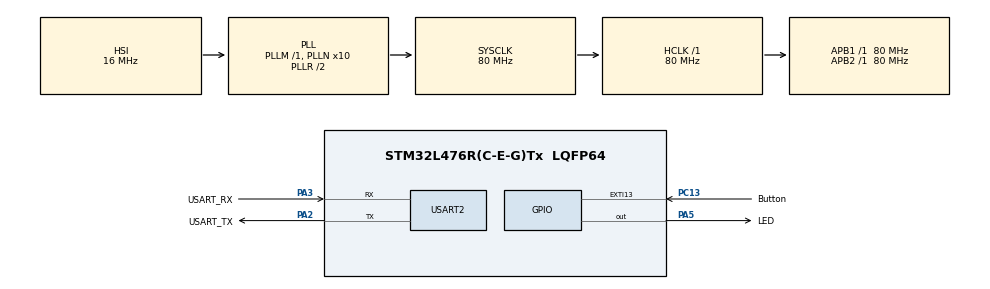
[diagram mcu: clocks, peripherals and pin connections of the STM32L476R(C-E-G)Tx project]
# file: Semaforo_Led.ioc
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Mcu.Family=STM32L4
Mcu.Name=STM32L476R(C-E-G)Tx
Mcu.Package=LQFP64
NVIC.EXTI15_10_IRQn=true\:0\:0\:false\:false\:true\:true\:true\:true
NVIC.PriorityGroup=NVIC_PRIORITYGROUP_4
NVIC.TIM3_IRQn=true\:0\:0\:false\:false\:true\:true\:true\:true
NVIC.USART2_IRQn=true\:0\:0\:false\:false\:true\:true\:true\:true
PA13\ (JTMS-SWDIO).GPIO_Label=TMS
PA13\ (JTMS-SWDIO).Mode=Serial_Wire
PA13\ (JTMS-SWDIO).Signal=SYS_JTMS-SWDIO
PA14\ (JTCK-SWCLK).GPIO_Label=TCK
PA14\ (JTCK-SWCLK).Mode=Serial_Wire
PA14\ (JTCK-SWCLK).Signal=SYS_JTCK-SWCLK
PA2.GPIO_Label=USART_TX
PA2.GPIO_Mode=GPIO_MODE_AF_PP
PA2.GPIO_PuPd=GPIO_NOPULL
PA2.GPIO_Speed=GPIO_SPEED_FREQ_VERY_HIGH
PA2.Mode=Asynchronous
PA2.Signal=USART2_TX
PA3.GPIO_Label=USART_RX
PA3.GPIO_Mode=GPIO_MODE_AF_PP
PA3.GPIO_PuPd=GPIO_NOPULL
PA3.GPIO_Speed=GPIO_SPEED_FREQ_VERY_HIGH
PA3.Mode=Asynchronous
PA3.Signal=USART2_RX
PA5.GPIO_Label=LED
PA5.GPIO_ModeDefaultOutputPP=GPIO_MODE_OUTPUT_PP
PA5.GPIO_PuPd=GPIO_NOPULL
PA5.GPIO_Speed=GPIO_SPEED_FREQ_LOW
PA5.Signal=GPIO_Output
PB3\ (JTDO-TRACESWO).GPIO_Label=SWO
PB3\ (JTDO-TRACESWO).Signal=SYS_JTDO-SWO
PC13.GPIO_Label=Button
PC13.GPIO_ModeDefaultEXTI=GPIO_MODE_IT_FALLING
PC13.GPIO_PuPd=GPIO_NOPULL
PC13.Signal=GPXTI13
PC14-OSC32_IN\ (PC14).Mode=LSE-External-Oscillator
PC14-OSC32_IN\ (PC14).Signal=RCC_OSC32_IN
PC15-OSC32_OUT\ (PC15).Mode=LSE-External-Oscillator
PC15-OSC32_OUT\ (PC15).Signal=RCC_OSC32_OUT
PH0-OSC_IN\ (PH0).Signal=RCC_OSC_IN
PH1-OSC_OUT\ (PH1).Signal=RCC_OSC_OUT
ProjectManager.HeapSize=0x200
ProjectManager.StackSize=0x400
ProjectManager.TargetToolchain=STM32CubeIDE
RCC.ADCFreq_Value=64000000
RCC.AHBFreq_Value=80000000
RCC.APB1Freq_Value=80000000
RCC.APB1TimFreq_Value=80000000
RCC.APB2Freq_Value=80000000
RCC.APB2TimFreq_Value=80000000
RCC.CortexFreq_Value=80000000
RCC.HCLKFreq_Value=80000000
RCC.HSE_VALUE=8000000
RCC.HSI_VALUE=16000000
RCC.MSI_VALUE=4000000
RCC.PLLN=10
RCC.PLLSourceVirtual=RCC_PLLSOURCE_HSI
RCC.PREFETCH_ENABLE=1
RCC.SYSCLKFreq_VALUE=80000000
RCC.SYSCLKSource=RCC_SYSCLKSOURCE_PLLCLK
RCC.USBFreq_Value=64000000
RCC.VCOOutputFreq_Value=160000000
TIM3.ClockDivision=TIM_CLOCKDIVISION_DIV1
TIM3.Period=2500-1
TIM3.Prescaler=8000-1
USART2.VirtualMode-Asynchronous=VM_ASYNC
VP_TIM3_VS_ClockSourceINT.Mode=Internal
board=NUCLEO-L476RG

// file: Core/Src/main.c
/* USER CODE BEGIN Header */
/**
  ******************************************************************************
  * @file           : main.c
  * @brief          : Main program body
  ******************************************************************************
  * @attention
  *
  * Copyright (c) 2024 STMicroelectronics.
  * All rights reserved.
  *
  * This software is licensed under terms that can be found in the LICENSE file
  * in the root directory of this software component.
  * If no LICENSE file comes with this software, it is provided AS-IS.
  *
  ******************************************************************************
  */
/* USER CODE END Header */
#include "main.h"

TIM_HandleTypeDef htim3;

UART_HandleTypeDef huart2;

/* USER CODE BEGIN PV */
extern state_machine_enum state_machine;
flag_enum button_flag;
flag_enum timer_switch_flag;
flag_enum uart2_received_flag;
uint8_t byte_counter;

char string_to_send[TX_BUFFER];
char string_to_receive[RX_BUFFER];
/* USER CODE END PV */

void SystemClock_Config(void);
static void MX_GPIO_Init(void);
static void MX_USART2_UART_Init(void);
static void MX_TIM3_Init(void);

/* USER CODE BEGIN 0 */
 void HAL_GPIO_EXTI_Callback(uint16_t GPIO_Pin)
{
	 if(GPIO_Pin == Button_Pin)
		 button_flag = FLAG_SET;
}

 void HAL_UART_RxCpltCallback(UART_HandleTypeDef *huart)
 {
   if( huart == &huart2 ){
	   if(string_to_receive[byte_counter] == '$'){
		   uart2_received_flag = FLAG_SET;
	   }else{
		   byte_counter++;
		   HAL_UART_Receive_IT(&huart2, (uint8_t *)&string_to_receive[byte_counter], LENGTH_COMMAND);
	   }
   }
 }

/* USER CODE END 0 */

int main(void)
{

  /* MCU Configuration--------------------------------------------------------*/

  /* Reset of all peripherals, Initializes the Flash interface and the Systick. */
  HAL_Init();

  /* Configure the system clock */
  SystemClock_Config();

  /* Initialize all configured peripherals */
  MX_GPIO_Init();
  MX_USART2_UART_Init();
  MX_TIM3_Init();
  /* USER CODE BEGIN 2 */
  button_flag = FLAG_RELEASED;
  timer_switch_flag = FLAG_RELEASED;
  uart2_received_flag = FLAG_RELEASED;
  byte_counter = 0;
  initialize_state_machine();
  HAL_TIM_Base_Start_IT(&htim3);
  /* USER CODE END 2 */

  /* Infinite loop */
  /* USER CODE BEGIN WHILE */
  uint8_t length_to_send;
  //HAL_StatusTypeDef uart_hal_status;
  length_to_send = sprintf(&string_to_send[0],"HOLA MUNDO\r\n");
  HAL_UART_Transmit(&huart2,(const uint8_t *)&string_to_send[0], length_to_send, 100);
  HAL_UART_Receive_IT(&huart2, (uint8_t *)&string_to_receive[byte_counter], LENGTH_COMMAND);
  string_to_receive[LENGTH_COMMAND] = 0x00;

  while (1)
  {
    /* USER CODE END WHILE */

    /* USER CODE BEGIN 3 */

	  if(uart2_received_flag == FLAG_SET){
		  uart2_received_flag = FLAG_RELEASED;
		  length_to_send = sprintf(&string_to_send[0],"Message received: %s \r\n", (char *)&string_to_receive[0]);
		  HAL_UART_Transmit(&huart2,(const uint8_t *)&string_to_send[0], length_to_send, 100);
		  byte_counter = 0;
		  HAL_UART_Receive_IT(&huart2, (uint8_t *)&string_to_receive[0], LENGTH_COMMAND);

	  }

	  /*uart_hal_status = HAL_UART_Receive(&huart2, (uint8_t *)&string_to_receive[0], 4, 500);

	  if(uart_hal_status == HAL_OK){
		  length_to_send = sprintf(&string_to_send[0],"Message received: %s \r\n", (char *)&string_to_receive[0]);
		  HAL_UART_Transmit(&huart2,(const uint8_t *)&string_to_send[0], length_to_send, 100);
	  }else if(uart_hal_status == HAL_TIMEOUT){
		  length_to_send = sprintf(&string_to_send[0],"Message timeout \r\n");
		  HAL_UART_Transmit(&huart2,(const uint8_t *)&string_to_send[0], length_to_send, 100);
	  }*/

	  check_state_machine();

//	  if(timer_switch_flag == FLAG_SET){
//		  timer_switch_flag = FLAG_RELEASED;
//		  HAL_GPIO_TogglePin(LED_GPIO_Port, LED_Pin);
//		  static uint8_t counter=0;
//		  counter ++;
//		  if(counter>=6){
//			  counter=0;
//			  htim3.Init.Period = 10000-1;
//			  HAL_TIM_Base_Init(&htim3);
//		  }
//	  }
  }
  /* USER CODE END 3 */
}

void SystemClock_Config(void)
{
  RCC_OscInitTypeDef RCC_OscInitStruct = {0};
  RCC_ClkInitTypeDef RCC_ClkInitStruct = {0};

  /** Configure the main internal regulator output voltage
  */
  if (HAL_PWREx_ControlVoltageScaling(PWR_REGULATOR_VOLTAGE_SCALE1) != HAL_OK)
  {
    Error_Handler();
  }

  /** Initializes the RCC Oscillators according to the specified parameters
  * in the RCC_OscInitTypeDef structure.
  */
  RCC_OscInitStruct.OscillatorType = RCC_OSCILLATORTYPE_HSI;
  RCC_OscInitStruct.HSIState = RCC_HSI_ON;
  RCC_OscInitStruct.HSICalibrationValue = RCC_HSICALIBRATION_DEFAULT;
  RCC_OscInitStruct.PLL.PLLState = RCC_PLL_ON;
  RCC_OscInitStruct.PLL.PLLSource = RCC_PLLSOURCE_HSI;
  RCC_OscInitStruct.PLL.PLLM = 1;
  RCC_OscInitStruct.PLL.PLLN = 10;
  RCC_OscInitStruct.PLL.PLLP = RCC_PLLP_DIV7;
  RCC_OscInitStruct.PLL.PLLQ = RCC_PLLQ_DIV2;
  RCC_OscInitStruct.PLL.PLLR = RCC_PLLR_DIV2;
  if (HAL_RCC_OscConfig(&RCC_OscInitStruct) != HAL_OK)
  {
    Error_Handler();
  }

  /** Initializes the CPU, AHB and APB buses clocks
  */
  RCC_ClkInitStruct.ClockType = RCC_CLOCKTYPE_HCLK|RCC_CLOCKTYPE_SYSCLK
                              |RCC_CLOCKTYPE_PCLK1|RCC_CLOCKTYPE_PCLK2;
  RCC_ClkInitStruct.SYSCLKSource = RCC_SYSCLKSOURCE_PLLCLK;
  RCC_ClkInitStruct.AHBCLKDivider = RCC_SYSCLK_DIV1;
  RCC_ClkInitStruct.APB1CLKDivider = RCC_HCLK_DIV1;
  RCC_ClkInitStruct.APB2CLKDivider = RCC_HCLK_DIV1;

  if (HAL_RCC_ClockConfig(&RCC_ClkInitStruct, FLASH_LATENCY_4) != HAL_OK)
  {
    Error_Handler();
  }
}

static void MX_TIM3_Init(void)
{

  TIM_ClockConfigTypeDef sClockSourceConfig = {0};
  TIM_MasterConfigTypeDef sMasterConfig = {0};

  htim3.Instance = TIM3;
  htim3.Init.Prescaler = 8000-1;
  htim3.Init.CounterMode = TIM_COUNTERMODE_UP;
  htim3.Init.Period = 2500-1;
  htim3.Init.ClockDivision = TIM_CLOCKDIVISION_DIV1;
  htim3.Init.AutoReloadPreload = TIM_AUTORELOAD_PRELOAD_DISABLE;
  if (HAL_TIM_Base_Init(&htim3) != HAL_OK)
  {
    Error_Handler();
  }
  sClockSourceConfig.ClockSource = TIM_CLOCKSOURCE_INTERNAL;
  if (HAL_TIM_ConfigClockSource(&htim3, &sClockSourceConfig) != HAL_OK)
  {
    Error_Handler();
  }
  sMasterConfig.MasterOutputTrigger = TIM_TRGO_RESET;
  sMasterConfig.MasterSlaveMode = TIM_MASTERSLAVEMODE_DISABLE;
  if (HAL_TIMEx_MasterConfigSynchronization(&htim3, &sMasterConfig) != HAL_OK)
  {
    Error_Handler();
  }

}

static void MX_USART2_UART_Init(void)
{

  huart2.Instance = USART2;
  huart2.Init.BaudRate = 115200;
  huart2.Init.WordLength = UART_WORDLENGTH_8B;
  huart2.Init.StopBits = UART_STOPBITS_1;
  huart2.Init.Parity = UART_PARITY_NONE;
  huart2.Init.Mode = UART_MODE_TX_RX;
  huart2.Init.HwFlowCtl = UART_HWCONTROL_NONE;
  huart2.Init.OverSampling = UART_OVERSAMPLING_16;
  huart2.Init.OneBitSampling = UART_ONE_BIT_SAMPLE_DISABLE;
  huart2.AdvancedInit.AdvFeatureInit = UART_ADVFEATURE_NO_INIT;
  if (HAL_UART_Init(&huart2) != HAL_OK)
  {
    Error_Handler();
  }

}

static void MX_GPIO_Init(void)
{
  GPIO_InitTypeDef GPIO_InitStruct = {0};

  /* GPIO Ports Clock Enable */
  __HAL_RCC_GPIOC_CLK_ENABLE();
  __HAL_RCC_GPIOH_CLK_ENABLE();
  __HAL_RCC_GPIOA_CLK_ENABLE();
  __HAL_RCC_GPIOB_CLK_ENABLE();

  /*Configure GPIO pin Output Level */
  HAL_GPIO_WritePin(LED_GPIO_Port, LED_Pin, GPIO_PIN_RESET);

  /*Configure GPIO pin : Button_Pin */
  GPIO_InitStruct.Pin = Button_Pin;
  GPIO_InitStruct.Mode = GPIO_MODE_IT_FALLING;
  GPIO_InitStruct.Pull = GPIO_NOPULL;
  HAL_GPIO_Init(Button_GPIO_Port, &GPIO_InitStruct);

  /*Configure GPIO pin : LED_Pin */
  GPIO_InitStruct.Pin = LED_Pin;
  GPIO_InitStruct.Mode = GPIO_MODE_OUTPUT_PP;
  GPIO_InitStruct.Pull = GPIO_NOPULL;
  GPIO_InitStruct.Speed = GPIO_SPEED_FREQ_LOW;
  HAL_GPIO_Init(LED_GPIO_Port, &GPIO_InitStruct);

  /* EXTI interrupt init*/
  HAL_NVIC_SetPriority(EXTI15_10_IRQn, 0, 0);
  HAL_NVIC_EnableIRQ(EXTI15_10_IRQn);

}

void Error_Handler(void)
{
  __disable_irq();
  while (1)
  {
  }
}
